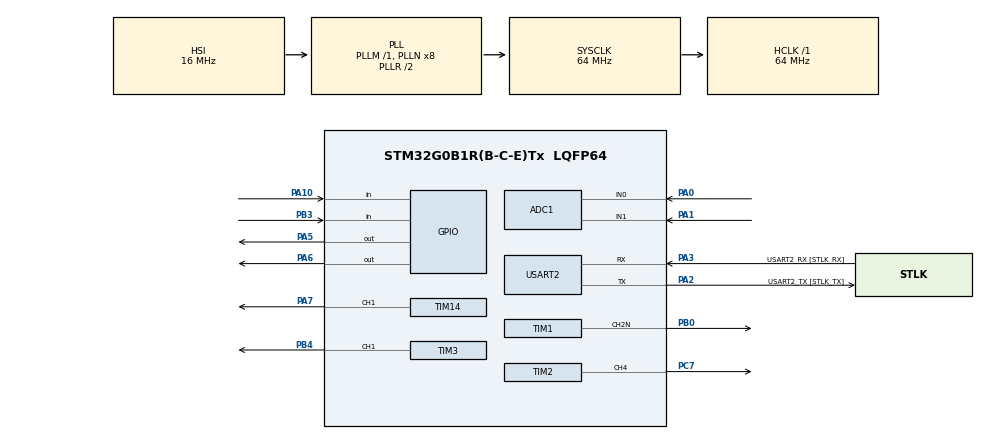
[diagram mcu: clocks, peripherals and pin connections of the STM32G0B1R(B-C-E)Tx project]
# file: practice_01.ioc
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ADC1.Channel-0\#ChannelRegularConversion=ADC_CHANNEL_0
ADC1.Channel-1\#ChannelRegularConversion=ADC_CHANNEL_1
ADC1.DMAContinuousRequests=ENABLE
ADC1.EOCSelection=ADC_EOC_SEQ_CONV
ADC1.ExternalTrigConv=ADC_EXTERNALTRIG_T6_TRGO
ADC1.NbrOfConversion=2
ADC1.NbrOfConversionFlag=1
ADC1.Rank-0\#ChannelRegularConversion=1
ADC1.Rank-1\#ChannelRegularConversion=2
ADC1.SamplingTime-0\#ChannelRegularConversion=ADC_SAMPLINGTIME_COMMON_1
ADC1.SamplingTime-1\#ChannelRegularConversion=ADC_SAMPLINGTIME_COMMON_1
ADC1.SamplingTimeCommon1=ADC_SAMPLETIME_160CYCLES_5
ADC1.SamplingTimeCommon2=ADC_SAMPLETIME_160CYCLES_5
ADC1.SelectedChannel=ADC_CHANNEL_0|ADC_CHANNEL_1
ADC1.TriggerFrequencyMode=ADC_TRIGGER_FREQ_LOW
ADC1.master=1
Dma.ADC1.0.Direction=DMA_PERIPH_TO_MEMORY
Dma.ADC1.0.EventEnable=DISABLE
Dma.ADC1.0.Instance=DMA1_Channel1
Dma.ADC1.0.MemDataAlignment=DMA_MDATAALIGN_HALFWORD
Dma.ADC1.0.MemInc=DMA_MINC_ENABLE
Dma.ADC1.0.Mode=DMA_CIRCULAR
Dma.ADC1.0.PeriphDataAlignment=DMA_PDATAALIGN_HALFWORD
Dma.ADC1.0.PeriphInc=DMA_PINC_DISABLE
Dma.ADC1.0.Polarity=HAL_DMAMUX_REQ_GEN_RISING
Dma.ADC1.0.Priority=DMA_PRIORITY_LOW
Dma.ADC1.0.RequestNumber=1
Dma.ADC1.0.SignalID=NONE
Dma.ADC1.0.SyncEnable=DISABLE
Dma.ADC1.0.SyncPolarity=HAL_DMAMUX_SYNC_NO_EVENT
Dma.ADC1.0.SyncRequestNumber=1
Dma.ADC1.0.SyncSignalID=NONE
Dma.Request0=ADC1
FREERTOS.Tasks01=defaultTask,24,128,StartDefaultTask,Default,NULL,Dynamic,NULL,NULL
FREERTOS.configUSE_NEWLIB_REENTRANT=1
Mcu.Family=STM32G0
Mcu.Name=STM32G0B1R(B-C-E)Tx
Mcu.Package=LQFP64
NVIC.ADC1_COMP_IRQn=true\:3\:0\:false\:false\:true\:true\:true\:true\:true
NVIC.DMA1_Channel1_IRQn=true\:3\:0\:false\:false\:true\:true\:false\:true\:true
NVIC.TIM7_LPTIM2_IRQn=true\:3\:0\:false\:false\:true\:false\:false\:true\:true
NVIC.TimeBase=TIM7_LPTIM2_IRQn
NVIC.TimeBaseIP=TIM7
NVIC.USART2_LPUART2_IRQn=true\:3\:0\:false\:false\:true\:true\:true\:true\:true
PA0.Mode=IN0
PA0.Signal=ADC1_IN0
PA1.Mode=IN1
PA1.Signal=ADC1_IN1
PA10.GPIO_PuPd=GPIO_PULLUP
PA10.Signal=GPIO_Input
PA13.GPIO_Label=TMS
PA13.Mode=Serial_Wire
PA13.Signal=SYS_SWDIO
PA14-BOOT0.GPIO_Label=TCK
PA14-BOOT0.Mode=Serial_Wire
PA14-BOOT0.Signal=SYS_SWCLK
PA2.GPIO_Label=USART2_TX [STLK_TX]
PA2.Mode=Asynchronous
PA2.Signal=USART2_TX
PA3.GPIO_Label=USART2_RX [STLK_RX]
PA3.Mode=Asynchronous
PA3.Signal=USART2_RX
PA5.GPIO_Speed=GPIO_SPEED_FREQ_LOW
PA5.Signal=GPIO_Output
PA6.Signal=GPIO_Output
PA7.Signal=S_TIM14_CH1
PB0.Mode=Output Compare2 CH2N
PB0.Signal=TIM1_CH2N
PB3.GPIO_PuPd=GPIO_PULLUP
PB3.Signal=GPIO_Input
PB4.Signal=S_TIM3_CH1
PC14-OSC32_IN\ (PC14).Mode=LSE-External-Oscillator
PC14-OSC32_IN\ (PC14).Signal=RCC_OSC32_IN
PC15-OSC32_OUT\ (PC15).Mode=LSE-External-Oscillator
PC15-OSC32_OUT\ (PC15).Signal=RCC_OSC32_OUT
PC7.Signal=S_TIM2_CH4
PF0-OSC_IN\ (PF0).GPIO_Label=MCO
PF0-OSC_IN\ (PF0).Mode=HSE-External-Clock-Source
PF0-OSC_IN\ (PF0).Signal=RCC_OSC_IN
ProjectManager.HeapSize=0x200
ProjectManager.StackSize=0x400
ProjectManager.TargetToolchain=CMake
RCC.ADCFreq_Value=64000000
RCC.AHBFreq_Value=64000000
RCC.CortexFreq_Value=64000000
RCC.EXTERNAL_CLOCK_VALUE=12288000
RCC.HCLKFreq_Value=64000000
RCC.HSE_VALUE=8000000
RCC.HSI48_VALUE=48000000
RCC.HSI_VALUE=16000000
RCC.SYSCLKFreq_VALUE=64000000
RCC.SYSCLKSource=RCC_SYSCLKSOURCE_PLLCLK
RCC.USBFreq_Value=48000000
RCC.VCOOutputFreq_Value=128000000
SH.S_TIM14_CH1.0=TIM14_CH1,PWM Generation1 CH1
SH.S_TIM2_CH4.0=TIM2_CH4,PWM Generation4 CH4
SH.S_TIM3_CH1.0=TIM3_CH1,PWM Generation1 CH1
TIM1.Channel-Output\ Compare2\ CH2N=TIM_CHANNEL_2
TIM1.Period=999
TIM1.Prescaler=63
TIM14.Channel=TIM_CHANNEL_1
TIM14.Period=999
TIM14.Prescaler=63
TIM2.Channel-PWM\ Generation4\ CH4=TIM_CHANNEL_4
TIM2.Period=999
TIM2.Prescaler=63
TIM3.Channel-PWM\ Generation1\ CH1=TIM_CHANNEL_1
TIM3.Period=999
TIM3.Prescaler=63
TIM3.Pulse-PWM\ Generation1\ CH1=500
TIM6.Period=9999
TIM6.Prescaler=63
TIM6.TIM_MasterOutputTrigger=TIM_TRGO_UPDATE
USART2.VirtualMode-Asynchronous=VM_ASYNC
VP_FREERTOS_VS_CMSIS_V2.Mode=CMSIS_V2
VP_SYS_VS_DBSignals.Mode=DisableDeadBatterySignals
VP_SYS_VS_tim7.Mode=TIM7
VP_TIM14_VS_ClockSourceINT.Mode=Enable_Timer
VP_TIM1_VS_ClockSourceINT.Mode=Internal
VP_TIM2_VS_ClockSourceINT.Mode=Internal
VP_TIM3_VS_ClockSourceINT.Mode=Internal
VP_TIM6_VS_ClockSourceINT.Mode=Enable_Timer
board=NUCLEO-G0B1RE

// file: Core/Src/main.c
/* USER CODE BEGIN Header */
/**
  ******************************************************************************
  * @file           : main.c
  * @brief          : Main program body
  ******************************************************************************
  * @attention
  *
  * Copyright (c) 2026 STMicroelectronics.
  * All rights reserved.
  *
  * This software is licensed under terms that can be found in the LICENSE file
  * in the root directory of this software component.
  * If no LICENSE file comes with this software, it is provided AS-IS.
  *
  ******************************************************************************
  */
/* USER CODE END Header */
#include "main.h"
#include "cmsis_os.h"

/* USER CODE BEGIN Includes */
#include "stdio.h"
#include "string.h"
#include "stdlib.h"
/* USER CODE END Includes */

ADC_HandleTypeDef hadc1;
DMA_HandleTypeDef hdma_adc1;

TIM_HandleTypeDef htim1;
TIM_HandleTypeDef htim2;
TIM_HandleTypeDef htim3;
TIM_HandleTypeDef htim6;
TIM_HandleTypeDef htim14;

UART_HandleTypeDef huart2;

/* Definitions for defaultTask */
osThreadId_t defaultTaskHandle;
const osThreadAttr_t defaultTask_attributes = {
  .name = "defaultTask",
  .priority = (osPriority_t) osPriorityNormal,
  .stack_size = 128 * 4
};
/* USER CODE BEGIN PV */
static GPIO_PinState prevSwState = GPIO_PIN_SET;

static uint8_t rxByte;  // 인터럽트 수신용 1바이트 버퍼
static osMessageQueueId_t rxQueueHandle;
osThreadId_t uartTaskHandle;
const osThreadAttr_t uartTask_attribute = {
  .name = "uartTask",
  .priority = (osPriority_t) osPriorityNormal,
  .stack_size = 256 * 4
};
/* USER CODE END PV */

void SystemClock_Config(void);
static void MX_GPIO_Init(void);
static void MX_DMA_Init(void);
static void MX_ADC1_Init(void);
static void MX_USART2_UART_Init(void);
static void MX_TIM1_Init(void);
static void MX_TIM2_Init(void);
static void MX_TIM3_Init(void);
static void MX_TIM6_Init(void);
static void MX_TIM14_Init(void);
void StartDefaultTask(void *argument);

/* USER CODE BEGIN PFP */
void StartUartTask(void *argument);
/* USER CODE END PFP */

int main(void)
{

  /* MCU Configuration--------------------------------------------------------*/

  /* Reset of all peripherals, Initializes the Flash interface and the Systick. */
  HAL_Init();

  /* Configure the system clock */
  SystemClock_Config();

  /* Initialize all configured peripherals */
  MX_GPIO_Init();
  MX_DMA_Init();
  MX_ADC1_Init();
  MX_USART2_UART_Init();
  MX_TIM1_Init();
  MX_TIM2_Init();
  MX_TIM3_Init();
  MX_TIM6_Init();
  MX_TIM14_Init();

  /* Init scheduler */
  osKernelInitialize();

  /* USER CODE BEGIN RTOS_QUEUES */
  /* add queues, ... */
  rxQueueHandle = osMessageQueueNew(64, sizeof(uint8_t), NULL);
  /* USER CODE END RTOS_QUEUES */

  /* Create the thread(s) */
  /* creation of defaultTask */
  defaultTaskHandle = osThreadNew(StartDefaultTask, NULL, &defaultTask_attributes);

  /* USER CODE BEGIN RTOS_THREADS */
  /* add threads, ... */
  uartTaskHandle = osThreadNew(StartUartTask, NULL, &uartTask_attribute);
  /* USER CODE END RTOS_THREADS */

  /* Start scheduler */
  osKernelStart();

  /* We should never get here as control is now taken by the scheduler */

  /* Infinite loop */
  while (1)
  {

  }
}

void SystemClock_Config(void)
{
  RCC_OscInitTypeDef RCC_OscInitStruct = {0};
  RCC_ClkInitTypeDef RCC_ClkInitStruct = {0};

  /** Configure the main internal regulator output voltage
  */
  HAL_PWREx_ControlVoltageScaling(PWR_REGULATOR_VOLTAGE_SCALE1);

  /** Initializes the RCC Oscillators according to the specified parameters
  * in the RCC_OscInitTypeDef structure.
  */
  RCC_OscInitStruct.OscillatorType = RCC_OSCILLATORTYPE_HSI;
  RCC_OscInitStruct.HSIState = RCC_HSI_ON;
  RCC_OscInitStruct.HSIDiv = RCC_HSI_DIV1;
  RCC_OscInitStruct.HSICalibrationValue = RCC_HSICALIBRATION_DEFAULT;
  RCC_OscInitStruct.PLL.PLLState = RCC_PLL_ON;
  RCC_OscInitStruct.PLL.PLLSource = RCC_PLLSOURCE_HSI;
  RCC_OscInitStruct.PLL.PLLM = RCC_PLLM_DIV1;
  RCC_OscInitStruct.PLL.PLLN = 8;
  RCC_OscInitStruct.PLL.PLLP = RCC_PLLP_DIV2;
  RCC_OscInitStruct.PLL.PLLQ = RCC_PLLQ_DIV2;
  RCC_OscInitStruct.PLL.PLLR = RCC_PLLR_DIV2;
  if (HAL_RCC_OscConfig(&RCC_OscInitStruct) != HAL_OK)
  {
    Error_Handler();
  }

  /** Initializes the CPU, AHB and APB buses clocks
  */
  RCC_ClkInitStruct.ClockType = RCC_CLOCKTYPE_HCLK|RCC_CLOCKTYPE_SYSCLK
                              |RCC_CLOCKTYPE_PCLK1;
  RCC_ClkInitStruct.SYSCLKSource = RCC_SYSCLKSOURCE_PLLCLK;
  RCC_ClkInitStruct.AHBCLKDivider = RCC_SYSCLK_DIV1;
  RCC_ClkInitStruct.APB1CLKDivider = RCC_HCLK_DIV1;

  if (HAL_RCC_ClockConfig(&RCC_ClkInitStruct, FLASH_LATENCY_2) != HAL_OK)
  {
    Error_Handler();
  }
}

static void MX_ADC1_Init(void)
{

  ADC_ChannelConfTypeDef sConfig = {0};

  /** Configure the global features of the ADC (Clock, Resolution, Data Alignment and number of conversion)
  */
  hadc1.Instance = ADC1;
  hadc1.Init.ClockPrescaler = ADC_CLOCK_SYNC_PCLK_DIV2;
  hadc1.Init.Resolution = ADC_RESOLUTION_12B;
  hadc1.Init.DataAlign = ADC_DATAALIGN_RIGHT;
  hadc1.Init.ScanConvMode = ADC_SCAN_ENABLE;
  hadc1.Init.EOCSelection = ADC_EOC_SEQ_CONV;
  hadc1.Init.LowPowerAutoWait = DISABLE;
  hadc1.Init.LowPowerAutoPowerOff = DISABLE;
  hadc1.Init.ContinuousConvMode = DISABLE;
  hadc1.Init.NbrOfConversion = 2;
  hadc1.Init.DiscontinuousConvMode = DISABLE;
  hadc1.Init.ExternalTrigConv = ADC_EXTERNALTRIG_T6_TRGO;
  hadc1.Init.ExternalTrigConvEdge = ADC_EXTERNALTRIGCONVEDGE_RISING;
  hadc1.Init.DMAContinuousRequests = ENABLE;
  hadc1.Init.Overrun = ADC_OVR_DATA_PRESERVED;
  hadc1.Init.SamplingTimeCommon1 = ADC_SAMPLETIME_160CYCLES_5;
  hadc1.Init.SamplingTimeCommon2 = ADC_SAMPLETIME_160CYCLES_5;
  hadc1.Init.OversamplingMode = DISABLE;
  hadc1.Init.TriggerFrequencyMode = ADC_TRIGGER_FREQ_LOW;
  if (HAL_ADC_Init(&hadc1) != HAL_OK)
  {
    Error_Handler();
  }

  /** Configure Regular Channel
  */
  sConfig.Channel = ADC_CHANNEL_0;
  sConfig.Rank = ADC_REGULAR_RANK_1;
  sConfig.SamplingTime = ADC_SAMPLINGTIME_COMMON_1;
  if (HAL_ADC_ConfigChannel(&hadc1, &sConfig) != HAL_OK)
  {
    Error_Handler();
  }

  /** Configure Regular Channel
  */
  sConfig.Channel = ADC_CHANNEL_1;
  sConfig.Rank = ADC_REGULAR_RANK_2;
  if (HAL_ADC_ConfigChannel(&hadc1, &sConfig) != HAL_OK)
  {
    Error_Handler();
  }

}

static void MX_TIM1_Init(void)
{

  TIM_ClockConfigTypeDef sClockSourceConfig = {0};
  TIM_MasterConfigTypeDef sMasterConfig = {0};
  TIM_OC_InitTypeDef sConfigOC = {0};
  TIM_BreakDeadTimeConfigTypeDef sBreakDeadTimeConfig = {0};

  htim1.Instance = TIM1;
  htim1.Init.Prescaler = 63;
  htim1.Init.CounterMode = TIM_COUNTERMODE_UP;
  htim1.Init.Period = 999;
  htim1.Init.ClockDivision = TIM_CLOCKDIVISION_DIV1;
  htim1.Init.RepetitionCounter = 0;
  htim1.Init.AutoReloadPreload = TIM_AUTORELOAD_PRELOAD_DISABLE;
  if (HAL_TIM_Base_Init(&htim1) != HAL_OK)
  {
    Error_Handler();
  }
  sClockSourceConfig.ClockSource = TIM_CLOCKSOURCE_INTERNAL;
  if (HAL_TIM_ConfigClockSource(&htim1, &sClockSourceConfig) != HAL_OK)
  {
    Error_Handler();
  }
  if (HAL_TIM_OC_Init(&htim1) != HAL_OK)
  {
    Error_Handler();
  }
  sMasterConfig.MasterOutputTrigger = TIM_TRGO_RESET;
  sMasterConfig.MasterOutputTrigger2 = TIM_TRGO2_RESET;
  sMasterConfig.MasterSlaveMode = TIM_MASTERSLAVEMODE_DISABLE;
  if (HAL_TIMEx_MasterConfigSynchronization(&htim1, &sMasterConfig) != HAL_OK)
  {
    Error_Handler();
  }
  sConfigOC.OCMode = TIM_OCMODE_TIMING;
  sConfigOC.Pulse = 0;
  sConfigOC.OCPolarity = TIM_OCPOLARITY_HIGH;
  sConfigOC.OCNPolarity = TIM_OCNPOLARITY_HIGH;
  sConfigOC.OCFastMode = TIM_OCFAST_DISABLE;
  sConfigOC.OCIdleState = TIM_OCIDLESTATE_RESET;
  sConfigOC.OCNIdleState = TIM_OCNIDLESTATE_RESET;
  if (HAL_TIM_OC_ConfigChannel(&htim1, &sConfigOC, TIM_CHANNEL_2) != HAL_OK)
  {
    Error_Handler();
  }
  sBreakDeadTimeConfig.OffStateRunMode = TIM_OSSR_DISABLE;
  sBreakDeadTimeConfig.OffStateIDLEMode = TIM_OSSI_DISABLE;
  sBreakDeadTimeConfig.LockLevel = TIM_LOCKLEVEL_OFF;
  sBreakDeadTimeConfig.DeadTime = 0;
  sBreakDeadTimeConfig.BreakState = TIM_BREAK_DISABLE;
  sBreakDeadTimeConfig.BreakPolarity = TIM_BREAKPOLARITY_HIGH;
  sBreakDeadTimeConfig.BreakFilter = 0;
  sBreakDeadTimeConfig.BreakAFMode = TIM_BREAK_AFMODE_INPUT;
  sBreakDeadTimeConfig.Break2State = TIM_BREAK2_DISABLE;
  sBreakDeadTimeConfig.Break2Polarity = TIM_BREAK2POLARITY_HIGH;
  sBreakDeadTimeConfig.Break2Filter = 0;
  sBreakDeadTimeConfig.Break2AFMode = TIM_BREAK_AFMODE_INPUT;
  sBreakDeadTimeConfig.AutomaticOutput = TIM_AUTOMATICOUTPUT_DISABLE;
  if (HAL_TIMEx_ConfigBreakDeadTime(&htim1, &sBreakDeadTimeConfig) != HAL_OK)
  {
    Error_Handler();
  }
  HAL_TIM_MspPostInit(&htim1);

}

static void MX_TIM2_Init(void)
{

  TIM_ClockConfigTypeDef sClockSourceConfig = {0};
  TIM_MasterConfigTypeDef sMasterConfig = {0};
  TIM_OC_InitTypeDef sConfigOC = {0};

  htim2.Instance = TIM2;
  htim2.Init.Prescaler = 63;
  htim2.Init.CounterMode = TIM_COUNTERMODE_UP;
  htim2.Init.Period = 999;
  htim2.Init.ClockDivision = TIM_CLOCKDIVISION_DIV1;
  htim2.Init.AutoReloadPreload = TIM_AUTORELOAD_PRELOAD_DISABLE;
  if (HAL_TIM_Base_Init(&htim2) != HAL_OK)
  {
    Error_Handler();
  }
  sClockSourceConfig.ClockSource = TIM_CLOCKSOURCE_INTERNAL;
  if (HAL_TIM_ConfigClockSource(&htim2, &sClockSourceConfig) != HAL_OK)
  {
    Error_Handler();
  }
  if (HAL_TIM_PWM_Init(&htim2) != HAL_OK)
  {
    Error_Handler();
  }
  sMasterConfig.MasterOutputTrigger = TIM_TRGO_RESET;
  sMasterConfig.MasterSlaveMode = TIM_MASTERSLAVEMODE_DISABLE;
  if (HAL_TIMEx_MasterConfigSynchronization(&htim2, &sMasterConfig) != HAL_OK)
  {
    Error_Handler();
  }
  sConfigOC.OCMode = TIM_OCMODE_PWM1;
  sConfigOC.Pulse = 0;
  sConfigOC.OCPolarity = TIM_OCPOLARITY_HIGH;
  sConfigOC.OCFastMode = TIM_OCFAST_DISABLE;
  if (HAL_TIM_PWM_ConfigChannel(&htim2, &sConfigOC, TIM_CHANNEL_4) != HAL_OK)
  {
    Error_Handler();
  }
  HAL_TIM_MspPostInit(&htim2);

}

static void MX_TIM3_Init(void)
{

  TIM_ClockConfigTypeDef sClockSourceConfig = {0};
  TIM_MasterConfigTypeDef sMasterConfig = {0};
  TIM_OC_InitTypeDef sConfigOC = {0};

  htim3.Instance = TIM3;
  htim3.Init.Prescaler = 63;
  htim3.Init.CounterMode = TIM_COUNTERMODE_UP;
  htim3.Init.Period = 999;
  htim3.Init.ClockDivision = TIM_CLOCKDIVISION_DIV1;
  htim3.Init.AutoReloadPreload = TIM_AUTORELOAD_PRELOAD_DISABLE;
  if (HAL_TIM_Base_Init(&htim3) != HAL_OK)
  {
    Error_Handler();
  }
  sClockSourceConfig.ClockSource = TIM_CLOCKSOURCE_INTERNAL;
  if (HAL_TIM_ConfigClockSource(&htim3, &sClockSourceConfig) != HAL_OK)
  {
    Error_Handler();
  }
  if (HAL_TIM_PWM_Init(&htim3) != HAL_OK)
  {
    Error_Handler();
  }
  sMasterConfig.MasterOutputTrigger = TIM_TRGO_RESET;
  sMasterConfig.MasterSlaveMode = TIM_MASTERSLAVEMODE_DISABLE;
  if (HAL_TIMEx_MasterConfigSynchronization(&htim3, &sMasterConfig) != HAL_OK)
  {
    Error_Handler();
  }
  sConfigOC.OCMode = TIM_OCMODE_PWM1;
  sConfigOC.Pulse = 500;
  sConfigOC.OCPolarity = TIM_OCPOLARITY_HIGH;
  sConfigOC.OCFastMode = TIM_OCFAST_DISABLE;
  if (HAL_TIM_PWM_ConfigChannel(&htim3, &sConfigOC, TIM_CHANNEL_1) != HAL_OK)
  {
    Error_Handler();
  }
  HAL_TIM_MspPostInit(&htim3);

}

static void MX_TIM6_Init(void)
{

  TIM_MasterConfigTypeDef sMasterConfig = {0};

  htim6.Instance = TIM6;
  htim6.Init.Prescaler = 63;
  htim6.Init.CounterMode = TIM_COUNTERMODE_UP;
  htim6.Init.Period = 9999;
  htim6.Init.AutoReloadPreload = TIM_AUTORELOAD_PRELOAD_DISABLE;
  if (HAL_TIM_Base_Init(&htim6) != HAL_OK)
  {
    Error_Handler();
  }
  sMasterConfig.MasterOutputTrigger = TIM_TRGO_UPDATE;
  sMasterConfig.MasterSlaveMode = TIM_MASTERSLAVEMODE_DISABLE;
  if (HAL_TIMEx_MasterConfigSynchronization(&htim6, &sMasterConfig) != HAL_OK)
  {
    Error_Handler();
  }

}

static void MX_TIM14_Init(void)
{

  TIM_OC_InitTypeDef sConfigOC = {0};

  htim14.Instance = TIM14;
  htim14.Init.Prescaler = 63;
  htim14.Init.CounterMode = TIM_COUNTERMODE_UP;
  htim14.Init.Period = 999;
  htim14.Init.ClockDivision = TIM_CLOCKDIVISION_DIV1;
  htim14.Init.AutoReloadPreload = TIM_AUTORELOAD_PRELOAD_DISABLE;
  if (HAL_TIM_Base_Init(&htim14) != HAL_OK)
  {
    Error_Handler();
  }
  if (HAL_TIM_PWM_Init(&htim14) != HAL_OK)
  {
    Error_Handler();
  }
  sConfigOC.OCMode = TIM_OCMODE_PWM1;
  sConfigOC.Pulse = 0;
  sConfigOC.OCPolarity = TIM_OCPOLARITY_HIGH;
  sConfigOC.OCFastMode = TIM_OCFAST_DISABLE;
  if (HAL_TIM_PWM_ConfigChannel(&htim14, &sConfigOC, TIM_CHANNEL_1) != HAL_OK)
  {
    Error_Handler();
  }
  HAL_TIM_MspPostInit(&htim14);

}

static void MX_USART2_UART_Init(void)
{

  huart2.Instance = USART2;
  huart2.Init.BaudRate = 115200;
  huart2.Init.WordLength = UART_WORDLENGTH_8B;
  huart2.Init.StopBits = UART_STOPBITS_1;
  huart2.Init.Parity = UART_PARITY_NONE;
  huart2.Init.Mode = UART_MODE_TX_RX;
  huart2.Init.HwFlowCtl = UART_HWCONTROL_NONE;
  huart2.Init.OverSampling = UART_OVERSAMPLING_16;
  huart2.Init.OneBitSampling = UART_ONE_BIT_SAMPLE_DISABLE;
  huart2.Init.ClockPrescaler = UART_PRESCALER_DIV1;
  huart2.AdvancedInit.AdvFeatureInit = UART_ADVFEATURE_NO_INIT;
  if (HAL_UART_Init(&huart2) != HAL_OK)
  {
    Error_Handler();
  }
  if (HAL_UARTEx_SetTxFifoThreshold(&huart2, UART_TXFIFO_THRESHOLD_1_8) != HAL_OK)
  {
    Error_Handler();
  }
  if (HAL_UARTEx_SetRxFifoThreshold(&huart2, UART_RXFIFO_THRESHOLD_1_8) != HAL_OK)
  {
    Error_Handler();
  }
  if (HAL_UARTEx_DisableFifoMode(&huart2) != HAL_OK)
  {
    Error_Handler();
  }

}

static void MX_DMA_Init(void)
{

  /* DMA controller clock enable */
  __HAL_RCC_DMA1_CLK_ENABLE();

  /* DMA interrupt init */
  /* DMA1_Channel1_IRQn interrupt configuration */
  HAL_NVIC_SetPriority(DMA1_Channel1_IRQn, 3, 0);
  HAL_NVIC_EnableIRQ(DMA1_Channel1_IRQn);

}

static void MX_GPIO_Init(void)
{
  GPIO_InitTypeDef GPIO_InitStruct = {0};

  /* GPIO Ports Clock Enable */
  __HAL_RCC_GPIOC_CLK_ENABLE();
  __HAL_RCC_GPIOF_CLK_ENABLE();
  __HAL_RCC_GPIOA_CLK_ENABLE();
  __HAL_RCC_GPIOB_CLK_ENABLE();

  /*Configure GPIO pin Output Level */
  HAL_GPIO_WritePin(GPIOA, GPIO_PIN_5|GPIO_PIN_6, GPIO_PIN_RESET);

  /*Configure GPIO pins : PA5 PA6 */
  GPIO_InitStruct.Pin = GPIO_PIN_5|GPIO_PIN_6;
  GPIO_InitStruct.Mode = GPIO_MODE_OUTPUT_PP;
  GPIO_InitStruct.Pull = GPIO_NOPULL;
  GPIO_InitStruct.Speed = GPIO_SPEED_FREQ_LOW;
  HAL_GPIO_Init(GPIOA, &GPIO_InitStruct);

  /*Configure GPIO pin : PA10 */
  GPIO_InitStruct.Pin = GPIO_PIN_10;
  GPIO_InitStruct.Mode = GPIO_MODE_INPUT;
  GPIO_InitStruct.Pull = GPIO_PULLUP;
  HAL_GPIO_Init(GPIOA, &GPIO_InitStruct);

  /*Configure GPIO pin : PB3 */
  GPIO_InitStruct.Pin = GPIO_PIN_3;
  GPIO_InitStruct.Mode = GPIO_MODE_INPUT;
  GPIO_InitStruct.Pull = GPIO_PULLUP;
  HAL_GPIO_Init(GPIOB, &GPIO_InitStruct);

}

/* USER CODE BEGIN 4 */
void HAL_UART_RxCpltCallback(UART_HandleTypeDef *huart)
{
  if (huart->Instance == USART2)
  {
    // 수신된 데이터를 큐에 넣음
    osMessageQueuePut(rxQueueHandle, &rxByte, 0, 0);
    // 다음 바이트 수신을 위해 다시 인터럽트 설정
    HAL_UART_Receive_IT(&huart2, &rxByte, 1);
  }
}

void HAL_UART_ErrorCallback(UART_HandleTypeDef *huart)
{
  if (huart->Instance == USART2)
    HAL_UART_Receive_IT(&huart2, &rxByte, 1);          // 오류 후 수신 재시작
}

void StartUartTask(void *argument)
{
  char line[32];
  uint8_t idx = 0, ch;
  const char *hello = "UART ready. Enter a number + Enter\r\n";

  HAL_UART_Receive_IT(&huart2, &rxByte, 1);            // 큐 생성 후 수신 시작
  HAL_UART_Transmit(&huart2, (uint8_t *)hello, strlen(hello), 100);

  for (;;)
  {
    if (osMessageQueueGet(rxQueueHandle, &ch, NULL, osWaitForever) == osOK)
    {
      if (ch == '\r' || ch == '\n')
      {
        if (idx > 0)                                   // \r\n 연속 시 빈 줄 무시
        {
          line[idx] = '\0';
          char *end;
          long v = strtol(line, &end, 10);
          char out[48];
          int n = (*end == '\0')
                ? snprintf(out, sizeof(out), "RX: %ld (x2=%ld)\r\n", v, v * 2)
                : snprintf(out, sizeof(out), "ERR: '%s'\r\n", line);
          HAL_UART_Transmit(&huart2, (uint8_t *)out, n, 100);
          idx = 0;
        }
      }
      else if (idx < sizeof(line) - 1) line[idx++] = ch;
      else idx = 0;                                    // 너무 긴 입력은 버림
    }
  }
}
/* USER CODE END 4 */

void StartDefaultTask(void *argument)
{
  /* USER CODE BEGIN 5 */
  for(;;)
  {
    GPIO_PinState curSwState = HAL_GPIO_ReadPin(GPIOA, GPIO_PIN_10);

    // Falling edge: 눌리지 않은 상태(1) -> 눌린 상태(0) 로 바뀌는 순간만 감지
    if (prevSwState == GPIO_PIN_SET && curSwState == GPIO_PIN_RESET)
    {
      osDelay(20); // 디바운스: 20ms 대기 후 재확인
      if (HAL_GPIO_ReadPin(GPIOA, GPIO_PIN_10) == GPIO_PIN_RESET)
      {
        HAL_GPIO_TogglePin(GPIOA, GPIO_PIN_5); // LED 토글
      }
    }

    prevSwState = curSwState;
    osDelay(10); // 폴링 주기
  }
  /* USER CODE END 5 */
}

void HAL_TIM_PeriodElapsedCallback(TIM_HandleTypeDef *htim)
{
  if (htim->Instance == TIM7)
  {
    HAL_IncTick();
  }
}

void Error_Handler(void)
{
  __disable_irq();
  while (1)
  {
  }
}
